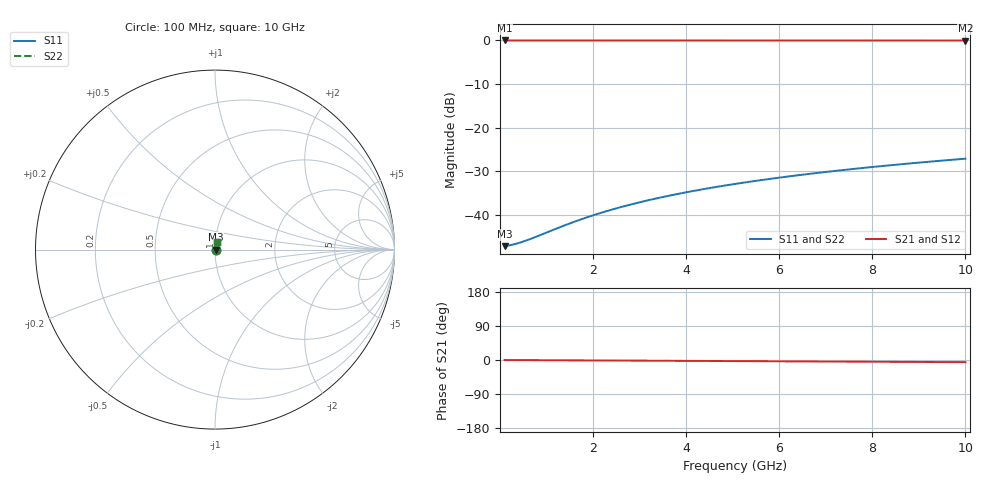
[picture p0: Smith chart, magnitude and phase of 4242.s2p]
# Hz S RI R 50.00
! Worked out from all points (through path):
!   100 points, 100 MHz to 10 GHz, reference 50 ohm
!   highest |S21| = -0.04 dB at 100 MHz (marker M1); lowest = -0.1 dB at 10 GHz (marker M2)
!   lowest |S11| = -47.2 dB at 100 MHz (marker M3), VSWR 1.01, Z = 50.4 + j0.0439 ohm
!   |S11| at or under -10 dB: start of sweep to end of sweep
!   |S22| runs from -47.2 to -27.1 dB; largest |S21 - S12| = 0
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1e8  0.00437 0.000435  0.9956 -0.000997  0.9956 -0.000997  0.00437 0.000435
2e8  0.0044 0.000869  0.9956 -0.00199  0.9956 -0.00199  0.0044 0.000869
3e8  0.00442 0.0013  0.9956 -0.00299  0.9956 -0.00299  0.00442 0.0013
4e8  0.00444 0.00174  0.9956 -0.00399  0.9956 -0.00399  0.00444 0.00174
5e8  0.00446 0.00217  0.9955 -0.00498  0.9955 -0.00498  0.00446 0.00217
7e8  0.00449 0.00304  0.9955 -0.00698  0.9955 -0.00698  0.00449 0.00304
1.4e9  0.00462 0.00608  0.9953 -0.0139  0.9953 -0.0139  0.00462 0.00608
1.8e9  0.0047 0.00782  0.9952 -0.0179  0.9952 -0.0179  0.0047 0.00782
2.2e9  0.00479 0.00955  0.9951 -0.0219  0.9951 -0.0219  0.00479 0.00955
2.6e9  0.00489 0.0113  0.995 -0.0259  0.995 -0.0259  0.00489 0.0113
3e9  0.00501 0.013  0.9948 -0.0299  0.9948 -0.0299  0.00501 0.013
3.4e9  0.00514 0.0148  0.9947 -0.0339  0.9947 -0.0339  0.00514 0.0148
3.8e9  0.00528 0.0165  0.9945 -0.0378  0.9945 -0.0378  0.00528 0.0165
4.2e9  0.00543 0.0182  0.9943 -0.0418  0.9943 -0.0418  0.00543 0.0182
4.6e9  0.0056 0.0199  0.994 -0.0458  0.994 -0.0458  0.0056 0.0199
5.1e9  0.00583 0.0221  0.9937 -0.0508  0.9937 -0.0508  0.00583 0.0221
5.9e9  0.00623 0.0256  0.9932 -0.0587  0.9932 -0.0587  0.00623 0.0256
6.7e9  0.0067 0.029  0.9926 -0.0667  0.9926 -0.0667  0.0067 0.029
7.5e9  0.00722 0.0324  0.9919 -0.0746  0.9919 -0.0746  0.00722 0.0324
8.4e9  0.00786 0.0363  0.991 -0.0835  0.991 -0.0835  0.00786 0.0363
9.2e9  0.0085 0.0397  0.9901 -0.0914  0.9901 -0.0914  0.0085 0.0397
1e10  0.00919 0.0431  0.9892 -0.0993  0.9892 -0.0993  0.00919 0.0431
